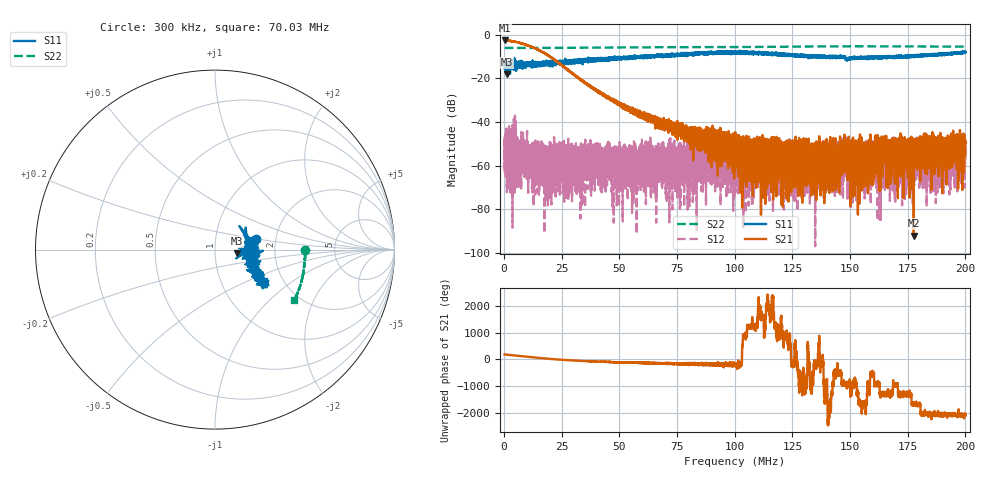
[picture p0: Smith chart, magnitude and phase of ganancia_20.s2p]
# Hz S DB R 50
! CMT, M5065, 19127446, 24.2.4/2
! Date: 11/8/2024 6:35:39 PM
! Data: Format (Calibration Info)
! Freq	S11:dB/Ang(F2)	S21:dB/Ang(F2)	S12:dB/Ang(F2)	S22:dB/Ang(F2)
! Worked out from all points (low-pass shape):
!   9000 points, 300 kHz to 200 MHz, reference 50 ohm
!   highest |S21| = -2.53 dB at 300 kHz (marker M1); lowest = -92.2 dB at 177.6 MHz (marker M2)
!   |S21| within 3 dB of the highest: start of sweep to 12.08 MHz; 12.09664 MHz to 12.12335 MHz (26.71 kHz wide, 0.221 % of centre)
!   lowest |S11| = -18.0 dB at 1.143 MHz (marker M3), VSWR 1.29, Z = 64 - j2.81 ohm
!   |S11| at or under -10 dB: start of sweep to 47.96 MHz; 47.98 MHz to 51.76 MHz (3.784 MHz wide, 7.59 % of centre); 147.7 MHz to 151.6 MHz (3.887 MHz wide, 2.6 % of centre)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
!   |S22| runs from -6.0 to -5.2 dB; largest |S21 - S12| = 0.75
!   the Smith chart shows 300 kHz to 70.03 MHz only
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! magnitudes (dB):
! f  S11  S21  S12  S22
! 300 kHz  -12.6  -2.5  -57.5  -6.0
! 1.143 MHz  -18.0  -2.6  -63.3  -6.0
! 16.12 MHz  -13.1  -7.5  -53.8  -6.0
! 33.59 MHz  -11.4  -20.8  -60.2  -5.9
! 66.87 MHz  -9.6  -39.5  -54.4  -5.6
! 100.2 MHz  -8.3  -60.2  -54.5  -5.6
! 102.1 MHz  -7.9  -50.3  -59.6  -5.6
! 103.7 MHz  -8.4  -52.2  -62.4  -5.5
! 111.2 MHz  -8.0  -52.3  -51.4  -5.5
! 115.6 MHz  -8.3  -58.3  -67.9  -5.5
! 133.4 MHz  -9.8  -54.4  -58.9  -5.3
! 137.4 MHz  -9.5  -57.8  -56.3  -5.3
! 139.7 MHz  -10.2  -62.7  -57.8  -5.2
! 144.3 MHz  -10.6  -59.4  -66.7  -5.2
! 147.5 MHz  -10.1  -55.4  -56.3  -5.2
! 150.8 MHz  -10.5  -58.9  -60.9  -5.2
! 155.6 MHz  -10.4  -60.6  -66.1  -5.2
! 157.7 MHz  -10.3  -56.5  -51.5  -5.2
! 166.7 MHz  -10.1  -50.8  -53.0  -5.2
! 177.6 MHz  -9.6  -92.2  -48.0  -5.3
! 196.9 MHz  -8.3  -47.7  -50.2  -5.4
! 200 MHz  -7.9  -49.0  -59.0  -5.4
